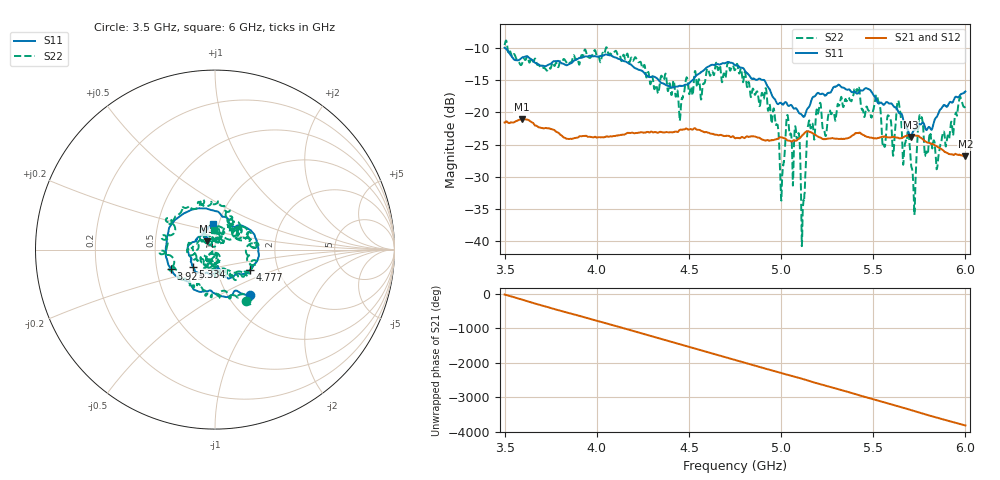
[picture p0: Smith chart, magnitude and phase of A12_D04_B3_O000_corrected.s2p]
! Created with skrf 1.9.0 (http://scikit-rf.org).
# Hz S RI R 50.0
!freq ReS11 ImS11 ReS21 ImS21 ReS12 ImS12 ReS22 ImS22
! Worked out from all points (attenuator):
!   1601 points, 3.5 GHz to 6 GHz, reference 50 ohm
!   highest |S21| = -21.04 dB at 3.592 GHz (marker M1); lowest = -26.8 dB at 6 GHz (marker M2)
!   lowest |S11| = -23.8 dB at 5.703 GHz (marker M3), VSWR 1.14, Z = 45.6 + j4.31 ohm
!   |S11| at or under -10 dB: 3.504 GHz to end of sweep
!   |S22| runs from -40.8 to -8.8 dB; largest |S21 - S12| = 0.0011
!   S11 on the Smith chart (normalised r, x): 3.5 GHz: 1.26, -0.71; 3.923 GHz: 0.59, -0.14; 4.777 GHz: 1.44, -0.34; 5.334 GHz: 0.77, -0.15; 6 GHz: 0.94, +0.28
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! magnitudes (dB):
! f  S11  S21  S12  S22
! 3.5 GHz  -9.9  -21.6  -21.5  -9.5
! 3.592 GHz  -11.5  -21.0  -21.0  -12.5
! 3.917 GHz  -11.5  -23.7  -23.7  -11.1
! 3.923 GHz  -11.4  -23.7  -23.6  -11.2
! 4.334 GHz  -14.9  -23.1  -23.1  -17.0
! 4.75 GHz  -12.6  -24.0  -23.9  -13.4
! 4.777 GHz  -13.0  -24.0  -24.0  -13.7
! 4.969 GHz  -18.1  -24.2  -24.1  -21.5
! 5.005 GHz  -18.6  -23.9  -23.8  -30.9
! 5.034 GHz  -18.8  -24.4  -24.2  -20.4
! 5.088 GHz  -19.6  -24.3  -24.2  -24.2
! 5.119 GHz  -20.6  -23.5  -23.4  -34.6
! 5.147 GHz  -19.3  -22.9  -22.9  -22.0
! 5.167 GHz  -17.9  -23.2  -23.1  -21.8
! 5.334 GHz  -16.1  -24.1  -24.1  -18.9
! 5.584 GHz  -18.6  -23.9  -23.8  -20.5
! 5.639 GHz  -20.0  -24.0  -23.9  -18.5
! 5.703 GHz  -23.8  -23.6  -23.5  -27.3
! 5.72 GHz  -22.8  -23.6  -23.5  -33.4
! 5.756 GHz  -21.9  -23.9  -23.8  -20.9
! 5.848 GHz  -20.5  -25.3  -25.3  -28.3
! 6 GHz  -16.7  -26.8  -26.7  -19.4
